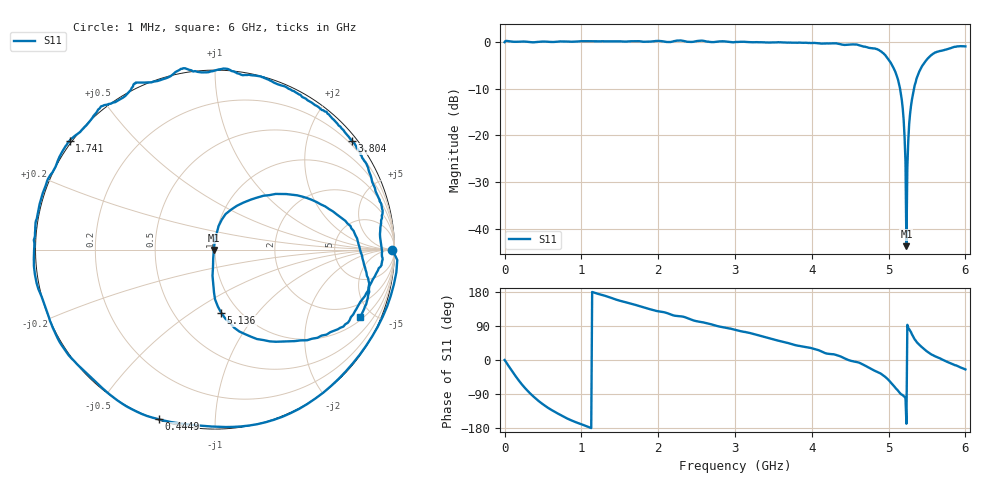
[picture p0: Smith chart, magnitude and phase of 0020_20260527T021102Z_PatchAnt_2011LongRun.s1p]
# Hz S RI R 50
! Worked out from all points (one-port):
!   501 points, 1 MHz to 6 GHz, reference 50 ohm
!   lowest |S11| = -43.6 dB at 5.232 GHz (marker M1), VSWR 1.01, Z = 49.4 - j0.133 ohm
!   |S11| at or under -10 dB: 5.149 GHz to 5.332 GHz (182.8 MHz wide, 3.49 % of centre)
!   S11 on the Smith chart (normalised r, x): 1 MHz: open; 444.9 MHz: 0.00, -0.72; 1.741 GHz: -0.01, +0.33; 3.804 GHz: 0.12, +2.87; 5.136 GHz: 0.83, -0.67; 6 GHz: 1.17, -4.22
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1000000  0.9882 -0.000378
8.4986e7  0.9062 -0.4309
2.16964e8  0.4685 -0.8875
3.0095e8  0.1466 -0.9851
4.44926e8  -0.3143 -0.945
7.56874e8  -0.8557 -0.5306
1.068822e9  -1.009 -0.0889
1.50075e9  -0.9246 0.4039
1.74071e9  -0.8101 0.6062
2.256624e9  -0.4501 0.9242
3.0005e9  0.1784 0.9728
3.756374e9  0.7369 0.6384
3.804366e9  0.7643 0.605
4.308282e9  0.9304 0.2292
4.50025e9  0.9296 -0.0223
4.872188e9  0.6842 -0.444
5.028162e9  0.3054 -0.5114
5.136144e9  0.0344 -0.3517
5.184136e9  -0.00958 -0.1941
5.196134e9  -0.0138 -0.1463
5.208132e9  -0.0111 -0.0952
5.232128e9  -0.00644 -0.00135
5.256124e9  0.00826 0.0867
5.268122e9  0.0199 0.1313
5.292118e9  0.0591 0.1982
5.412098e9  0.3974 0.3095
5.628062e9  0.7719 0.1048
6e9  0.8072 -0.3748
